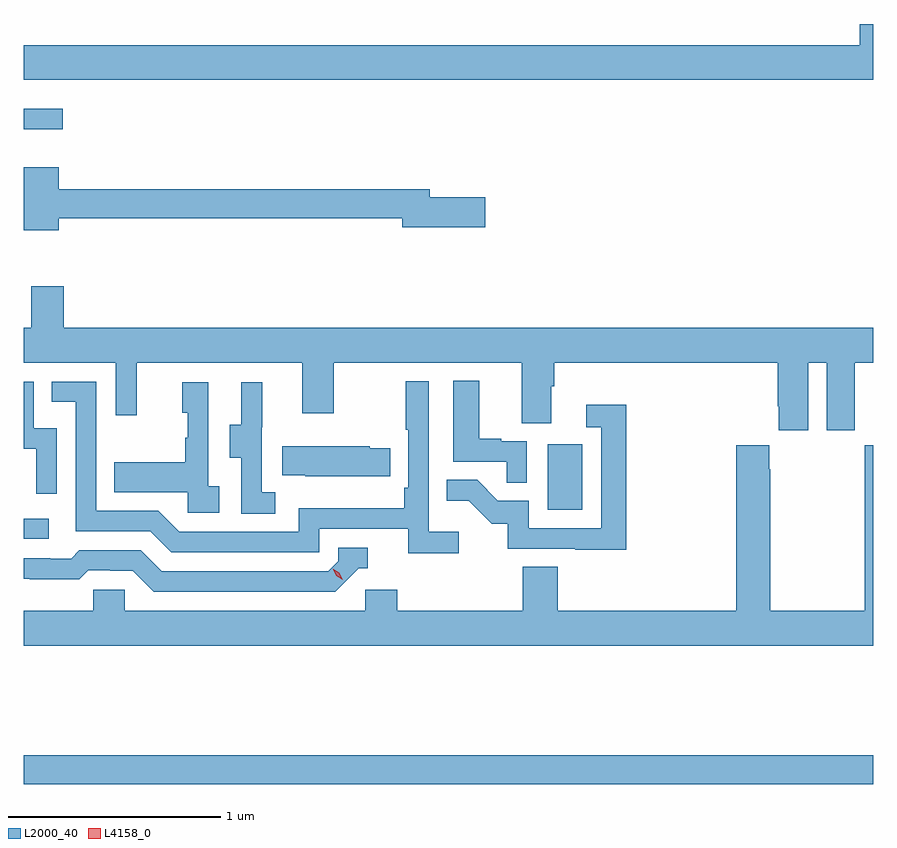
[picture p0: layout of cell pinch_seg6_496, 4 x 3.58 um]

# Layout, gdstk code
import gdstk
lib = gdstk.Library(unit=1e-6, precision=1e-09)
def R(c, l, rs):  # rectangles x0, y0, x1, y1
    for r in rs: c.add(gdstk.rectangle(r[:2], r[2:], *l))
def P(c, l, *ps):  # polygons
    for p in ps: c.add(gdstk.Polygon(p, *l))
L2000_40 = (2000, 40)
L4158_0 = (4158, 0)

pinch_seg6_496 = lib.new_cell('pinch_seg6_496')
R(pinch_seg6_496, L2000_40, [(840.883,921.376,844.883,921.512), (840.883,922.53,841,922.626), (843.35,922.668,843.514,922.975), (840.883,924.459,841.066,924.556)])
P(pinch_seg6_496, L2000_40, [(844.883,924.955),(844.819,924.955),(844.819,924.856),(840.883,924.856),(840.883,924.692),(844.883,924.692)],
  [(841.048,924.04),(842.666,924.04),(842.666,923.998),(843.055,923.998),(843.055,924.14),(842.794,924.14),(842.794,924.176),(841.048,924.176),(841.048,924.28),(840.883,924.28),(840.883,923.984),(841.048,923.984)],
  [(844.576,923.36),(844.664,923.36),(844.664,923.043),(844.795,923.043),(844.795,923.36),(844.883,923.36),(844.883,923.524),(841.07,923.524),(841.07,923.719),(840.917,923.719),(840.917,923.524),(840.883,923.524),(840.883,923.36),(841.317,923.36),(841.317,923.112),(841.415,923.112),(841.415,923.36),(842.195,923.36),(842.195,923.121),(842.343,923.121),(842.343,923.36),(843.227,923.36),(843.227,923.074),(843.367,923.074),(843.367,923.248),(843.38,923.248),(843.38,923.36),(844.433,923.36),(844.433,923.155),(844.439,923.155),(844.439,923.043),(844.576,923.043)],
  [(843.252,922.989),(843.131,922.989),(843.131,923.002),(843.028,923.002),(843.028,923.275),(842.906,923.275),(842.906,922.893),(843.157,922.893),(843.157,922.795),(843.252,922.795)],
  [(842.932,922.564),(842.79,922.564),(842.79,923.272),(842.682,923.272),(842.682,923.044),(842.694,923.044),(842.694,922.771),(842.674,922.771),(842.674,922.675),(842.178,922.675),(842.178,922.563),(841.614,922.563),(841.515,922.662),(841.224,922.662),(841.224,923.271),(841.015,923.271),(841.015,923.175),(841.128,923.175),(841.128,922.566),(841.478,922.566),(841.577,922.467),(842.274,922.467),(842.274,922.578),(842.693,922.578),(842.693,922.462),(842.932,922.462)],
  [(841.038,923.052),(840.93,923.052),(840.93,923.271),(840.883,923.271),(840.883,922.955),(840.942,922.955),(840.942,922.743),(841.038,922.743)],
  [(841.804,922.778),(841.752,922.778),(841.752,923.269),(841.628,923.269),(841.628,923.124),(841.654,923.124),(841.654,923.006),(841.644,923.006),(841.644,922.891),(841.309,922.891),(841.309,922.751),(841.656,922.751),(841.656,922.653),(841.804,922.653)],
  [(842.068,922.751),(842.004,922.751),(842.004,923.055),(842.006,923.055),(842.006,923.269),(841.907,923.269),(841.907,923.067),(841.853,923.067),(841.853,922.912),(841.908,922.912),(841.908,922.648),(842.068,922.648)],
  [(843.719,923.161),(843.531,923.161),(843.531,923.055),(843.603,923.055),(843.603,922.581),(843.261,922.581),(843.261,922.71),(843.116,922.71),(843.018,922.808),(842.875,922.808),(842.875,922.709),(842.979,922.709),(843.086,922.602),(843.163,922.602),(843.163,922.485),(843.481,922.485),(843.481,922.48),(843.719,922.48)],
  [(844.238,922.972),(844.238,922.192),(843.398,922.192),(843.398,922.4),(843.233,922.4),(843.233,922.192),(842.642,922.192),(842.642,922.29),(842.49,922.29),(842.49,922.192),(841.359,922.192),(841.359,922.29),(841.209,922.29),(841.209,922.192),(840.883,922.192),(840.883,922.028),(844.883,922.028),(844.883,922.972),(844.843,922.972),(844.843,922.192),(844.398,922.192),(844.398,922.859),(844.393,922.859),(844.393,922.972)],
  [(842.609,922.956),(842.511,922.956),(842.511,922.966),(842.101,922.966),(842.101,922.829),(842.209,922.829),(842.209,922.826),(842.609,922.826)],
  [(842.46,922.392),(842.503,922.392),(842.503,922.488),(842.364,922.488),(842.364,922.425),(842.316,922.377),(841.533,922.377),(841.434,922.476),(841.145,922.476),(841.106,922.437),(841.007,922.437),(841.007,922.44),(840.883,922.44),(840.883,922.343),(840.912,922.343),(840.912,922.341),(841.145,922.341),(841.187,922.383),(841.29,922.383),(841.29,922.38),(841.397,922.38),(841.496,922.281),(842.349,922.281)])
P(pinch_seg6_496, L4158_0, [(842.385,922.337),(842.354,922.357),(842.338,922.39),(842.338,922.39),(842.339,922.39),(842.369,922.37),(842.386,922.338),(842.386,922.337)])

lib.write_gds('pinch_seg6_496.gds')
